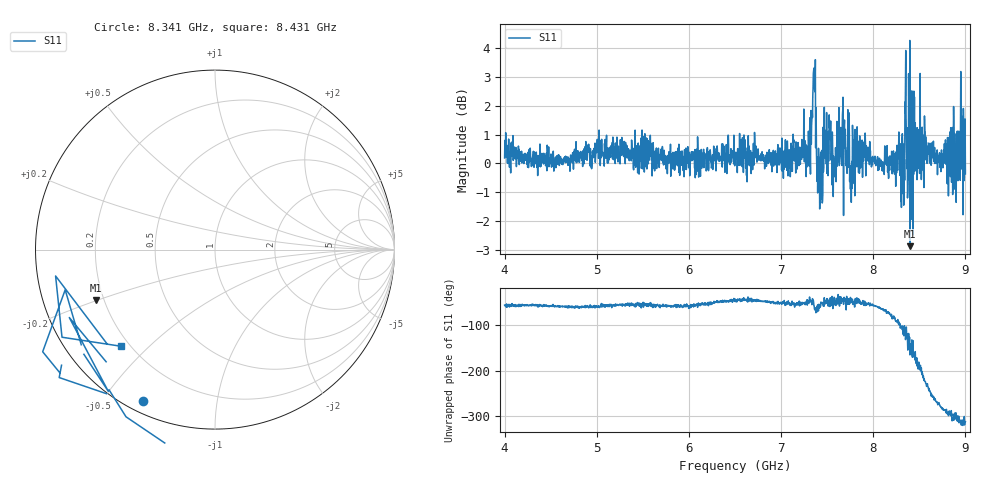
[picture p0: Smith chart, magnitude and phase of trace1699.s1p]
! Created with skrf 1.8.0 (http://scikit-rf.org).
# Hz S RI R 50.0
!freq ReS11 ImS11
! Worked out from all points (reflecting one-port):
!   1601 points, 4 GHz to 9 GHz, reference 50 ohm
!   lowest |S11| = -2.9 dB at 8.4 GHz (marker M1), VSWR 6.09, Z = 8.54 - j9.88 ohm
!   phase of S11 starts at -57 deg and turns -255 deg over the sweep
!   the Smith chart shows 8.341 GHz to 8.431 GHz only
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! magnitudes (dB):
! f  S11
! 4 GHz  0.2
! 4.625 GHz  0.0
! 5.25 GHz  0.2
! 5.875 GHz  0.2
! 6.5 GHz  0.2
! 7.125 GHz  0.4
! 7.294 GHz  0.2
! 7.347 GHz  2.6
! 7.369 GHz  2.6
! 7.4 GHz  -0.2
! 7.428 GHz  0.2
! 7.481 GHz  0.2
! 7.538 GHz  1.5
! 7.578 GHz  0.2
! 7.669 GHz  1.8
! 7.75 GHz  -0.1
! 7.828 GHz  0.4
! 8.097 GHz  0.0
! 8.272 GHz  0.6
! 8.316 GHz  1.0
! 8.334 GHz  -0.8
! 8.375 GHz  -1.0
! 8.4 GHz  -2.9
! 8.425 GHz  -0.9
! 8.459 GHz  -0.2
! 8.841 GHz  1.2
! 8.972 GHz  0.6
! 9 GHz  -0.4
